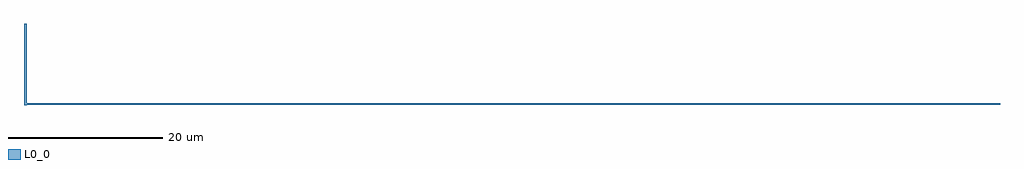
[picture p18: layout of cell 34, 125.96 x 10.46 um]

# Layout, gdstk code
import gdstk
lib = gdstk.Library(unit=1e-6, precision=1e-09)
def P(c, l, *ps):  # polygons
    for p in ps: c.add(gdstk.Polygon(p, *l))
L0_0 = (0, 0)

c_34 = lib.new_cell('34')
P(c_34, L0_0, [(1264.04,764.82),(1264.42,764.82),(1264.42,764.54),(1264.04,764.54),(1264.04,764.82)],
  [(1390,764.565),(1264.115,764.565),(1264.115,764.795),(1390,764.795),(1390,764.565)],
  [(1264.37,775),(1264.37,764.54),(1264.09,764.54),(1264.09,775),(1264.37,775)],
  [(1264.04,764.82),(1264.42,764.82),(1264.42,764.54),(1264.04,764.54),(1264.04,764.82)],
  [(1264.04,772.66),(1264.42,772.66),(1264.42,772.38),(1264.04,772.38),(1264.04,772.66)],
  [(1264.37,775),(1264.37,772.38),(1264.09,772.38),(1264.09,775),(1264.37,775)])

lib.write_gds('34.gds')
